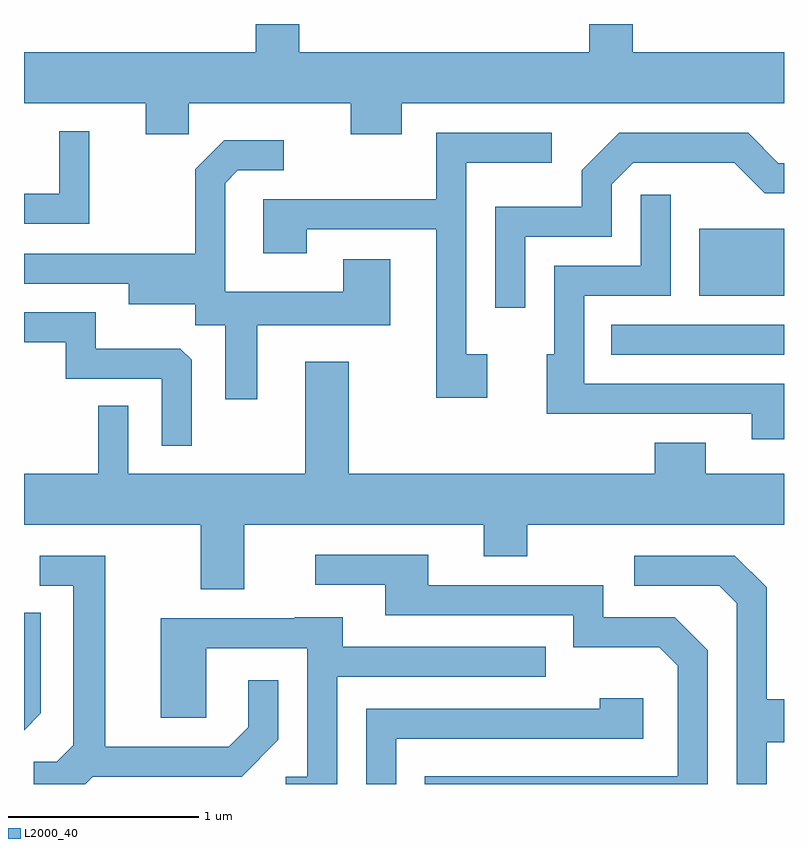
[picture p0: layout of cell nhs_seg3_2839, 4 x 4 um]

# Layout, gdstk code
import gdstk
lib = gdstk.Library(unit=1e-6, precision=1e-09)
def R(c, l, rs):  # rectangles x0, y0, x1, y1
    for r in rs: c.add(gdstk.rectangle(r[:2], r[2:], *l))
def P(c, l, *ps):  # polygons
    for p in ps: c.add(gdstk.Polygon(p, *l))
L2000_40 = (2000, 40)

nhs_seg3_2839 = lib.new_cell('nhs_seg3_2839')
R(nhs_seg3_2839, L2000_40, [(270.703,1220.151,271.611,1220.309), (271.166,1220.461,271.611,1220.814)])
P(nhs_seg3_2839, L2000_40, [(268.479,1221.476),(269.331,1221.476),(269.331,1221.311),(269.599,1221.311),(269.599,1221.476),(271.611,1221.476),(271.611,1221.744),(270.814,1221.744),(270.814,1221.892),(270.586,1221.892),(270.586,1221.744),(269.059,1221.744),(269.059,1221.892),(268.831,1221.892),(268.831,1221.744),(267.611,1221.744),(267.611,1221.476),(268.251,1221.476),(268.251,1221.311),(268.479,1221.311)],
  [(267.954,1221.328),(267.796,1221.328),(267.796,1220.999),(267.611,1220.999),(267.611,1220.841),(267.954,1220.841)],
  [(270.249,1220.771),(270.704,1220.771),(270.704,1221.049),(270.817,1221.161),(271.349,1221.161),(271.509,1221.001),(271.611,1221.001),(271.611,1221.159),(271.582,1221.159),(271.422,1221.319),(270.744,1221.319),(270.546,1221.122),(270.546,1220.929),(270.091,1220.929),(270.091,1220.398),(270.249,1220.398)],
  [(270.049,1220.154),(269.939,1220.154),(269.939,1221.161),(270.388,1221.161),(270.388,1221.319),(269.781,1221.319),(269.781,1220.969),(268.871,1220.969),(268.871,1220.686),(269.099,1220.686),(269.099,1220.811),(269.781,1220.811),(269.781,1219.926),(270.049,1219.926)],
  [(268.839,1220.306),(269.539,1220.306),(269.539,1220.654),(269.291,1220.654),(269.291,1220.484),(268.669,1220.484),(268.669,1221.054),(268.737,1221.121),(268.978,1221.121),(268.978,1221.279),(268.664,1221.279),(268.511,1221.127),(268.511,1220.684),(267.611,1220.684),(267.611,1220.526),(268.161,1220.526),(268.161,1220.416),(268.511,1220.416),(268.511,1220.306),(268.671,1220.306),(268.671,1219.918),(268.839,1219.918)],
  [(271.611,1219.999),(270.559,1219.999),(270.559,1220.461),(271.014,1220.461),(271.014,1220.993),(270.856,1220.993),(270.856,1220.619),(270.401,1220.619),(270.401,1220.154),(270.361,1220.154),(270.361,1219.841),(271.441,1219.841),(271.441,1219.706),(271.611,1219.706)],
  [(268.494,1220.124),(268.434,1220.184),(267.989,1220.184),(267.989,1220.374),(267.611,1220.374),(267.611,1220.216),(267.831,1220.216),(267.831,1220.026),(268.336,1220.026),(268.336,1219.673),(268.494,1219.673)],
  [(268.769,1219.256),(270.031,1219.256),(270.031,1219.091),(270.259,1219.091),(270.259,1219.256),(271.611,1219.256),(271.611,1219.524),(271.199,1219.524),(271.199,1219.689),(270.931,1219.689),(270.931,1219.524),(269.319,1219.524),(269.319,1220.114),(269.091,1220.114),(269.091,1219.524),(268.159,1219.524),(268.159,1219.883),(268.001,1219.883),(268.001,1219.524),(267.611,1219.524),(267.611,1219.256),(268.541,1219.256),(268.541,1218.916),(268.769,1218.916)],
  [(271.209,1218.597),(271.037,1218.769),(270.659,1218.769),(270.659,1218.939),(269.739,1218.939),(269.739,1219.099),(269.143,1219.099),(269.143,1218.941),(269.511,1218.941),(269.511,1218.781),(270.501,1218.781),(270.501,1218.611),(270.954,1218.611),(271.051,1218.514),(271.051,1217.934),(269.721,1217.934),(269.721,1217.892),(271.209,1217.892)],
  [(271.519,1218.111),(271.611,1218.111),(271.611,1218.339),(271.519,1218.339),(271.519,1218.927),(271.352,1219.094),(270.823,1219.094),(270.823,1218.936),(271.269,1218.936),(271.361,1218.844),(271.361,1217.892),(271.519,1217.892)],
  [(267.972,1217.931),(268.757,1217.931),(268.949,1218.124),(268.949,1218.438),(268.791,1218.438),(268.791,1218.192),(268.689,1218.089),(268.039,1218.089),(268.039,1219.094),(267.693,1219.094),(267.693,1218.936),(267.871,1218.936),(267.871,1218.097),(267.784,1218.009),(267.663,1218.009),(267.663,1217.892),(267.933,1217.892)],
  [(267.699,1218.264),(267.699,1218.793),(267.611,1218.793),(267.611,1218.176)],
  [(269.259,1218.456),(270.358,1218.456),(270.358,1218.614),(269.289,1218.614),(269.289,1218.769),(269.035,1218.769),(269.035,1218.764),(268.331,1218.764),(268.331,1218.241),(268.569,1218.241),(268.569,1218.606),(269.101,1218.606),(269.101,1217.929),(268.988,1217.929),(268.988,1217.892),(269.259,1217.892)],
  [(269.569,1218.131),(270.869,1218.131),(270.869,1218.344),(270.641,1218.344),(270.641,1218.289),(269.411,1218.289),(269.411,1217.892),(269.569,1217.892)])

lib.write_gds('nhs_seg3_2839.gds')
